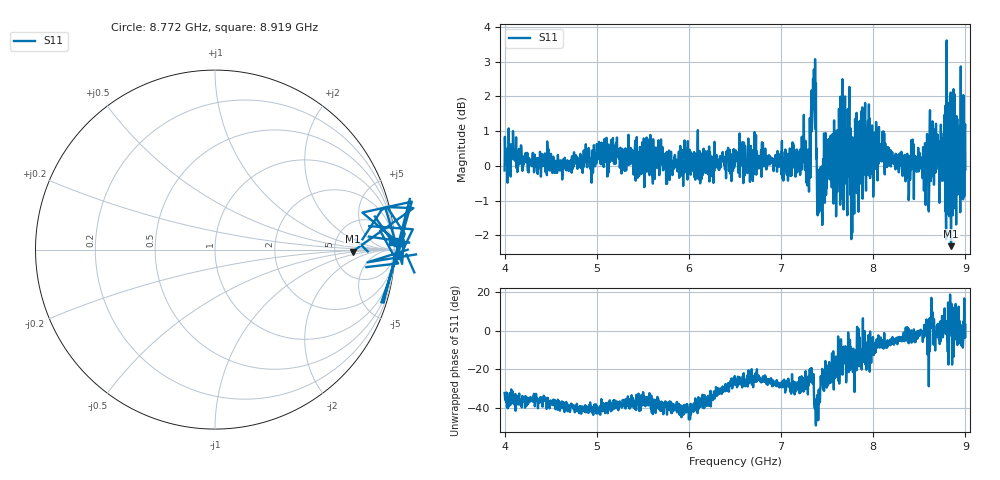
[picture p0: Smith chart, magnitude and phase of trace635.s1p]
! Created with skrf 1.8.0 (http://scikit-rf.org).
# Hz S RI R 50.0
!freq ReS11 ImS11
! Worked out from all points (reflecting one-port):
!   1601 points, 4 GHz to 9 GHz, reference 50 ohm
!   lowest |S11| = -2.3 dB at 8.844 GHz (marker M1), VSWR 7.57, Z = 377 - j20.2 ohm
!   phase of S11 starts at -32 deg and turns +35 deg over the sweep
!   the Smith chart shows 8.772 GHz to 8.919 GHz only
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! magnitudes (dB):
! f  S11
! 4 GHz  -0.1
! 4.1 GHz  0.3
! 4.625 GHz  -0.4
! 5.25 GHz  -0.1
! 5.875 GHz  -0.2
! 6.5 GHz  0.3
! 7.125 GHz  0.7
! 7.294 GHz  0.0
! 7.353 GHz  1.8
! 7.4 GHz  -0.1
! 7.422 GHz  -1.2
! 7.522 GHz  0.5
! 7.591 GHz  0.6
! 7.669 GHz  0.8
! 7.75 GHz  0.0
! 7.775 GHz  0.8
! 7.844 GHz  0.7
! 7.962 GHz  1.4
! 8.375 GHz  -0.2
! 8.522 GHz  0.2
! 8.584 GHz  0.9
! 8.656 GHz  0.5
! 8.766 GHz  0.9
! 8.816 GHz  -0.1
! 8.844 GHz  -2.3
! 8.919 GHz  -0.1
! 8.972 GHz  0.5
! 9 GHz  -0.1
